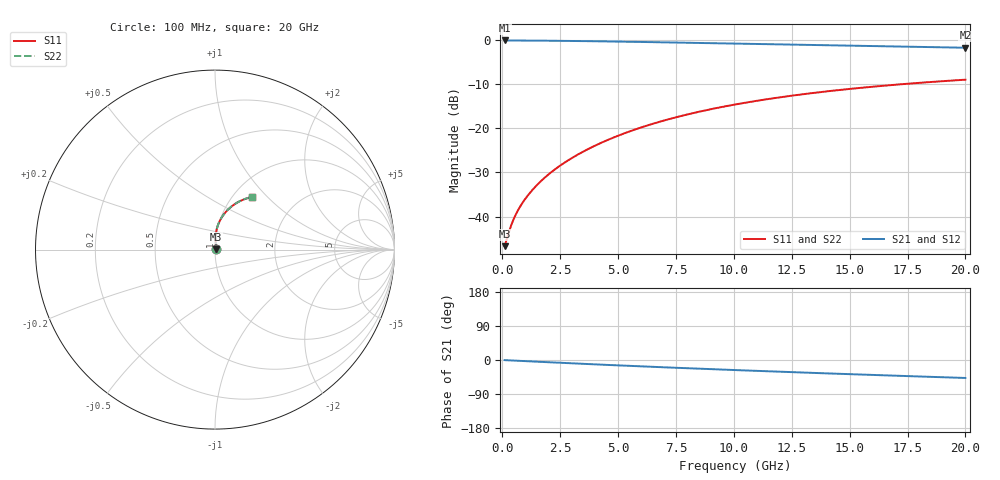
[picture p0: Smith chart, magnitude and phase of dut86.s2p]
! Touchstone file exported from HFSS 2024.1.0
!  File:  C:/UserFiles/LocalFiles/RDL_TSV_Batchsim/temp_RDL_top_86_1778682663.aedt
!  Generated:  10:33:29 PM May 13, 2026
!  Design:  RDL_top
!  Project:  temp_RDL_top_86_1778682663
!  Setup:  Setup1
!  Solution:  Sweep
! Variables:
!  dtsv = 10.80580581um
!  hbump = 3um
!  htsv = 85.56um
!  ldown = 100um
!  lrdl = 681.84um
!  p = 40
!  p1 = 54.72um
!  rhole = 1um
!  t = 450um
!  tdown = 3.915915916um
!  trdl = 2.11um
!  wdown = 15.38538539um
!  wrdl = 29.51um
# GHz S MA R 50.000000
! Terminal data exported
! Port[1] = Box2_T1
! Port[2] = Box2_T2
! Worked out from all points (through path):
!   200 points, 100 MHz to 20 GHz, reference 50 ohm
!   highest |S21| = -0.04 dB at 100 MHz (marker M1); lowest = -1.7 dB at 20 GHz (marker M2)
!   group delay of S21, straight-line fit = 6.5 ps
!   lowest |S11| = -46.7 dB at 100 MHz (marker M3), VSWR 1.01, Z = 50.4 + j0.178 ohm
!   |S11| at or under -10 dB: start of sweep to 17.17 GHz
!   |S22| runs from -46.7 to -8.9 dB; largest |S21 - S12| = 1.5e-14
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0.1  0.004609 22.5  0.9957 -0.3  0.9957 -0.3  0.004609 22.5
! Gamma 0 0 0 0
! Port Impedance 50 0 50 0
0.3  0.006858 47.6  0.9952 -0.9  0.9952 -0.9  0.006858 47.6
0.4  0.008164 53.8  0.9949 -1.2  0.9949 -1.2  0.008164 53.8
0.5  0.009469 58.2  0.9946 -1.5  0.9946 -1.5  0.00947 58.2
0.6  0.01076 61.6  0.9943 -1.8  0.9943 -1.8  0.01077 61.6
0.7  0.01206 64.4  0.9939 -2.1  0.9939 -2.1  0.01206 64.4
0.9  0.01465 68.8  0.9933 -2.7  0.9933 -2.7  0.01465 68.8
1.2  0.01866 73.7  0.9923 -3.6  0.9923 -3.6  0.01865 73.7
1.7  0.02568 79.0  0.9903 -5.0  0.9903 -5.0  0.02568 79.0
2.2  0.03315 82.3  0.9878 -6.5  0.9878 -6.5  0.03315 82.4
2.8  0.04271 84.8  0.9842 -8.2  0.9842 -8.2  0.04271 84.9
3.5  0.05462 86.4  0.9793 -10.2  0.9793 -10.2  0.05463 86.5
4.2  0.06731 87.1  0.9737 -12.1  0.9737 -12.1  0.06732 87.1
5  0.08259 87.0  0.9668 -14.2  0.9668 -14.2  0.08262 87.1
5.9  0.1006 86.2  0.9585 -16.5  0.9585 -16.5  0.1006 86.2
6.8  0.1191 84.8  0.9498 -18.8  0.9498 -18.8  0.1192 84.9
8.4  0.1525 81.6  0.9341 -22.7  0.9341 -22.7  0.1526 81.7
10.1  0.1878 77.7  0.9172 -26.7  0.9172 -26.7  0.1879 77.7
11.7  0.2198 73.8  0.9014 -30.3  0.9014 -30.3  0.2199 73.9
13.4  0.2521 69.7  0.8849 -34.0  0.8849 -34.0  0.2523 69.8
16.7  0.3088 62.0  0.8534 -40.9  0.8534 -40.9  0.3091 62.1
20  0.3572 54.9  0.8234 -47.4  0.8234 -47.4  0.3576 55.0
